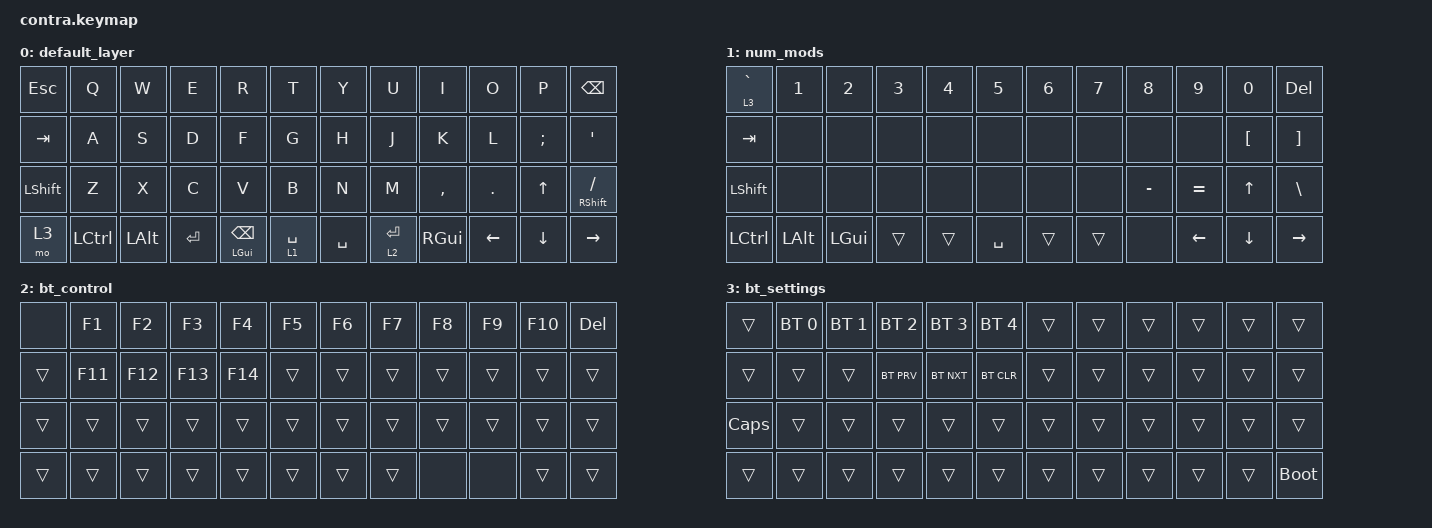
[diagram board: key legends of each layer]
/*
 * Copyright (c) 2021 The ZMK Contributors
 *
 * SPDX-License-Identifier: MIT
 */

#include <behaviors.dtsi>
#include <dt-bindings/zmk/bt.h>
#include <dt-bindings/zmk/keys.h>

#define DEFAULT  0
#define NUM_MODS 1
#define BT_CTRL  2

/ {
    keymap {
        compatible = "zmk,keymap";

        default_layer {
            bindings = <
  &kp ESC      &kp Q         &kp W         &kp E                   &kp R        &kp T      &kp Y        &kp U          &kp I     &kp O         &kp P               &kp BSPC
  &kp TAB      &kp A         &kp S         &kp D                   &kp F        &kp G      &kp H        &kp J          &kp K     &kp L      &kp SEMI                &kp SQT
&kp LSHFT      &kp Z         &kp X         &kp C                   &kp V        &kp B      &kp N        &kp M      &kp COMMA   &kp DOT  &kp UP_ARROW  &mt RIGHT_SHIFT SLASH
    &mo 3  &kp LCTRL  &kp LEFT_ALT  &kp ENTER  &mt LEFT_GUI BACKSPACE  &lt 1 SPACE  &kp SPACE  &lt 2 ENTER  &kp RIGHT_GUI  &kp LEFT      &kp DOWN              &kp RIGHT
            >;
        };

        num_mods {
            bindings = <
&lt 3 GRAVE        &kp N1        &kp N2  &kp N3  &kp N4     &kp N5  &kp N6  &kp N7     &kp N8          &kp N9            &kp N0            &kp DEL
    &kp TAB         &none         &none   &none   &none      &none   &none   &none      &none           &none  &kp LEFT_BRACKET  &kp RIGHT_BRACKET
  &kp LSHFT         &none         &none   &none   &none      &none   &none   &none  &kp MINUS       &kp EQUAL      &kp UP_ARROW      &kp BACKSLASH
  &kp LCTRL  &kp LEFT_ALT  &kp LEFT_GUI  &trans  &trans  &kp SPACE  &trans  &trans      &none  &kp LEFT_ARROW          &kp DOWN          &kp RIGHT
            >;
        };

        bt_control {
            bindings = <
 &none   &kp F1   &kp F2   &kp F3   &kp F4  &kp F5  &kp F6  &kp F7  &kp F8  &kp F9  &kp F10  &kp DEL
&trans  &kp F11  &kp F12  &kp F13  &kp F14  &trans  &trans  &trans  &trans  &trans   &trans   &trans
&trans   &trans   &trans   &trans   &trans  &trans  &trans  &trans  &trans  &trans   &trans   &trans
&trans   &trans   &trans   &trans   &trans  &trans  &trans  &trans   &none   &none   &trans   &trans
            >;
        };

        bt_settings {
            bindings = <
  &trans  &bt BT_SEL 0  &bt BT_SEL 1  &bt BT_SEL 2  &bt BT_SEL 3  &bt BT_SEL 4  &trans  &trans  &trans  &trans  &trans       &trans
  &trans        &trans        &trans    &bt BT_PRV    &bt BT_NXT    &bt BT_CLR  &trans  &trans  &trans  &trans  &trans       &trans
&kp CAPS        &trans        &trans        &trans        &trans        &trans  &trans  &trans  &trans  &trans  &trans       &trans
  &trans        &trans        &trans        &trans        &trans        &trans  &trans  &trans  &trans  &trans  &trans  &bootloader
            >;
        };
    };
};
